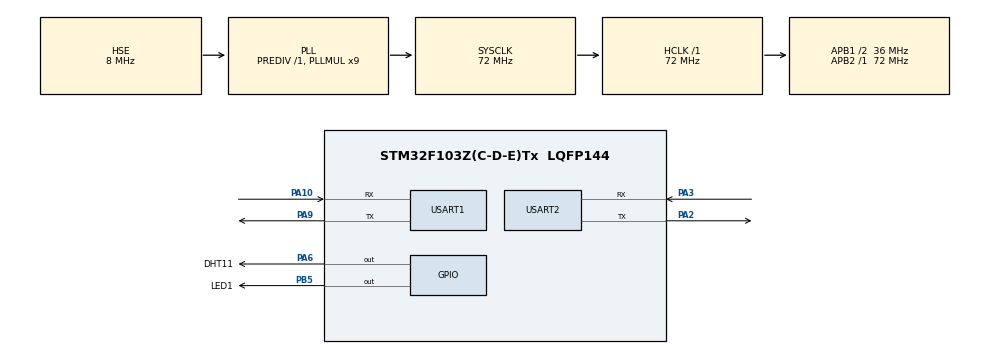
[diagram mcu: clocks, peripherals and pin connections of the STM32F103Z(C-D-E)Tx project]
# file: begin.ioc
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Mcu.Family=STM32F1
Mcu.Name=STM32F103Z(C-D-E)Tx
Mcu.Package=LQFP144
NVIC.PriorityGroup=NVIC_PRIORITYGROUP_4
OSC_IN.Mode=HSE-External-Oscillator
OSC_IN.Signal=RCC_OSC_IN
OSC_OUT.Mode=HSE-External-Oscillator
OSC_OUT.Signal=RCC_OSC_OUT
PA10.Mode=Asynchronous
PA10.Signal=USART1_RX
PA2.Mode=Asynchronous
PA2.Signal=USART2_TX
PA3.Mode=Asynchronous
PA3.Signal=USART2_RX
PA6.GPIO_Label=DHT11
PA6.Signal=GPIO_Output
PA9.Mode=Asynchronous
PA9.Signal=USART1_TX
PB5.GPIO_Label=LED1
PB5.PinState=GPIO_PIN_RESET
PB5.Signal=GPIO_Output
ProjectManager.HeapSize=0x200
ProjectManager.StackSize=0x400
ProjectManager.TargetToolchain=MDK-ARM V5.32
RCC.AHBFreq_Value=72000000
RCC.APB1CLKDivider=RCC_HCLK_DIV2
RCC.APB1Freq_Value=36000000
RCC.APB1TimFreq_Value=72000000
RCC.APB2Freq_Value=72000000
RCC.APB2TimFreq_Value=72000000
RCC.HCLKFreq_Value=72000000
RCC.PLLMUL=RCC_PLL_MUL9
RCC.PLLSourceVirtual=RCC_PLLSOURCE_HSE
RCC.SYSCLKFreq_VALUE=72000000
RCC.SYSCLKSource=RCC_SYSCLKSOURCE_PLLCLK
RCC.USBFreq_Value=72000000
USART1.VirtualMode=VM_ASYNC
USART2.VirtualMode=VM_ASYNC
VP_SYS_VS_ND.Mode=No_Debug
board=custom

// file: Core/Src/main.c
/* USER CODE BEGIN Header */
/**
  ******************************************************************************
  * @file           : main.c
  * @brief          : Main program body
  ******************************************************************************
  * @attention
  *
  * Copyright (c)2026 QIAN LONG
  * All rights reserved.
  *
	* Licensed under the MIT License.
	* See the LICENSE file in the project root for details.
  *
  ******************************************************************************
  */
/* USER CODE END Header */
#include "main.h"
#include "usart.h"
#include "gpio.h"

/* USER CODE BEGIN Includes */
#include <stdio.h>
#include "dht11.h"
#include "esp8266.h" // 添加ESP8266头文件
#include <stdarg.h>
/* USER CODE END Includes */

/* USER CODE BEGIN PTD */
uint8_t temp, humi;
/* USER CODE END PTD */

void SystemClock_Config(void);
/* USER CODE BEGIN PFP */
void delay_us(uint16_t us)
{
    uint32_t delay = (HAL_RCC_GetHCLKFreq() / 8000000) * us;
    for(uint32_t i = 0; i < delay; i++) {
        __NOP();
    }
}
/* USER CODE END PFP */

/* USER CODE BEGIN 0 */
//int fputc(int ch, FILE *f)
//{
//    HAL_UART_Transmit(&huart2, (uint8_t *)&ch, 1, 100);
//    return ch;
//}
void uart_print(UART_HandleTypeDef *huart, char* format, ...) {
    char buf[256] = {0};  // 增大缓冲区防止溢出
    va_list ap;
    va_start(ap, format);
    vsnprintf(buf, sizeof(buf), format, ap);  // 使用安全的vsnprintf
    va_end(ap);

    // 添加回车换行
    strcat(buf, "\r\n");
    HAL_UART_Transmit(huart, (uint8_t*)buf, strlen(buf), HAL_MAX_DELAY);
}
/* USER CODE END 0 */

int main(void)
{

  /* MCU Configuration--------------------------------------------------------*/

  /* Reset of all peripherals, Initializes the Flash interface and the Systick. */
  HAL_Init();

  /* Configure the system clock */
  SystemClock_Config();

  /* Initialize all configured peripherals */
  MX_GPIO_Init();
  MX_USART1_UART_Init();
  MX_USART2_UART_Init();
  /* USER CODE BEGIN 2 */

  uart_print(&huart1, "System Booted!");

    // 初始化DHT11
    if(DHT11_Init() != 0) {
       uart_print(&huart1, "DHT11 Initialization Failed!");
        while(1) {
            HAL_GPIO_TogglePin(LED1_GPIO_Port, LED1_Pin);
            HAL_Delay(100);
        }
    }
     uart_print(&huart1, "DHT11 Initialized.");
		  ESP8266_Init(&huart2); // 将USART2的句柄传递给ESP8266模块
  /* USER CODE END 2 */

  /* Infinite loop */
  /* USER CODE BEGIN WHILE */
  while (1)
  {
 if(DHT11_Read_Data(&temp, &humi) == 0) {
             uart_print(&huart1, "Sensor Read: Temperature=%dC, Humidity=%d%%", temp, humi);
					 Send_SensorData_To_Cloud(temp, humi);
        } else {
             uart_print(&huart1, "Failed to read from DHT11.");
        }
        // LED闪烁
        HAL_GPIO_TogglePin(LED1_GPIO_Port, LED1_Pin);
        HAL_Delay(1000);
    /* USER CODE END WHILE */

  }
}

void SystemClock_Config(void)
{
  RCC_OscInitTypeDef RCC_OscInitStruct = {0};
  RCC_ClkInitTypeDef RCC_ClkInitStruct = {0};

  /** Initializes the RCC Oscillators according to the specified parameters
  * in the RCC_OscInitTypeDef structure.
  */
  RCC_OscInitStruct.OscillatorType = RCC_OSCILLATORTYPE_HSE;
  RCC_OscInitStruct.HSEState = RCC_HSE_ON;
  RCC_OscInitStruct.HSEPredivValue = RCC_HSE_PREDIV_DIV1;
  RCC_OscInitStruct.HSIState = RCC_HSI_ON;
  RCC_OscInitStruct.PLL.PLLState = RCC_PLL_ON;
  RCC_OscInitStruct.PLL.PLLSource = RCC_PLLSOURCE_HSE;
  RCC_OscInitStruct.PLL.PLLMUL = RCC_PLL_MUL9;
  if (HAL_RCC_OscConfig(&RCC_OscInitStruct) != HAL_OK)
  {
    Error_Handler();
  }

  /** Initializes the CPU, AHB and APB buses clocks
  */
  RCC_ClkInitStruct.ClockType = RCC_CLOCKTYPE_HCLK|RCC_CLOCKTYPE_SYSCLK
                              |RCC_CLOCKTYPE_PCLK1|RCC_CLOCKTYPE_PCLK2;
  RCC_ClkInitStruct.SYSCLKSource = RCC_SYSCLKSOURCE_PLLCLK;
  RCC_ClkInitStruct.AHBCLKDivider = RCC_SYSCLK_DIV1;
  RCC_ClkInitStruct.APB1CLKDivider = RCC_HCLK_DIV2;
  RCC_ClkInitStruct.APB2CLKDivider = RCC_HCLK_DIV1;

  if (HAL_RCC_ClockConfig(&RCC_ClkInitStruct, FLASH_LATENCY_2) != HAL_OK)
  {
    Error_Handler();
  }
}

void Error_Handler(void)
{
  __disable_irq();
  while (1)
  {
  }
}
